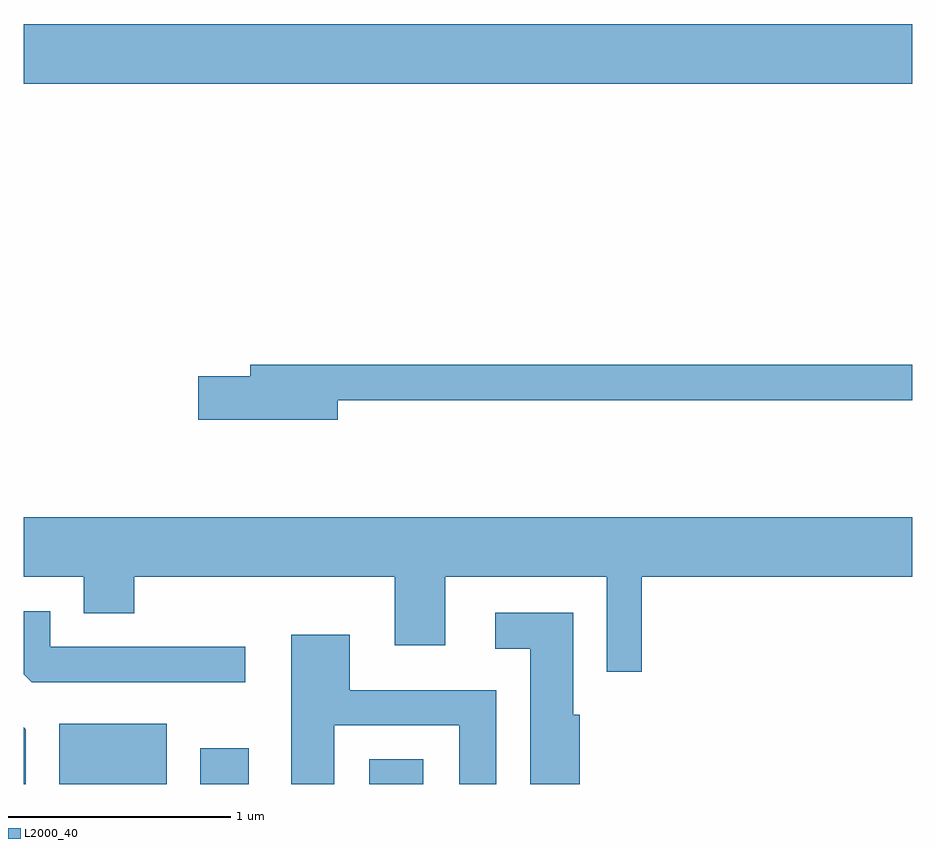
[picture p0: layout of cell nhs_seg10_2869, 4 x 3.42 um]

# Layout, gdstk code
import gdstk
lib = gdstk.Library(unit=1e-6, precision=1e-09)
def R(c, l, rs):  # rectangles x0, y0, x1, y1
    for r in rs: c.add(gdstk.rectangle(r[:2], r[2:], *l))
def P(c, l, *ps):  # polygons
    for p in ps: c.add(gdstk.Polygon(p, *l))
L2000_40 = (2000, 40)

nhs_seg10_2869 = lib.new_cell('nhs_seg10_2869')
R(nhs_seg10_2869, L2000_40, [(269.771,2128.522,270.254,2128.794), (270.406,2128.522,270.624,2128.684), (271.166,2128.522,271.409,2128.634), (269.611,2131.676,273.611,2131.944)])
P(nhs_seg10_2869, L2000_40, [(271.024,2130.251),(273.611,2130.251),(273.611,2130.409),(270.631,2130.409),(270.631,2130.359),(270.396,2130.359),(270.396,2130.161),(271.024,2130.161)],
  [(272.394,2129.456),(273.611,2129.456),(273.611,2129.724),(269.611,2129.724),(269.611,2129.456),(269.881,2129.456),(269.881,2129.291),(270.109,2129.291),(270.109,2129.456),(271.281,2129.456),(271.281,2129.146),(271.509,2129.146),(271.509,2129.456),(272.236,2129.456),(272.236,2129.028),(272.394,2129.028)],
  [(270.608,2129.139),(269.729,2129.139),(269.729,2129.299),(269.611,2129.299),(269.611,2129.017),(269.647,2128.981),(270.608,2128.981)],
  [(272.114,2128.834),(272.084,2128.834),(272.084,2129.294),(271.733,2129.294),(271.733,2129.131),(271.891,2129.131),(271.891,2128.522),(272.114,2128.522)],
  [(271.009,2128.786),(271.571,2128.786),(271.571,2128.522),(271.739,2128.522),(271.739,2128.944),(271.079,2128.944),(271.079,2129.194),(270.816,2129.194),(270.816,2128.522),(271.009,2128.522)],
  [(269.619,2128.769),(269.611,2128.777),(269.611,2128.522),(269.619,2128.522)])

lib.write_gds('nhs_seg10_2869.gds')
